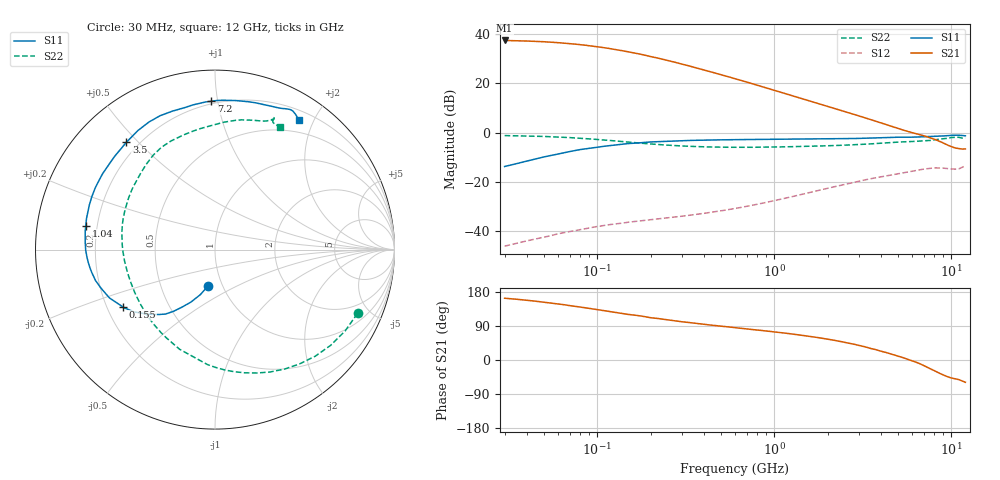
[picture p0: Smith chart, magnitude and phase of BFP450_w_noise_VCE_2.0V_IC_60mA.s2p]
! (c) 2015  Infineon Technologies AG, Munich
! Infineon Technologies  Discrete & RF Semiconductors
! BFP450
! VCE =  2.0 V,  IC =  60 mA
! Common Emitter S-Parameters:  Nov 2015
# GHz  S  MA  R  50
!  f  S11  S21  S12  S22
! GHz  MAG  ANG  MAG  ANG  MAG  ANG  MAG  ANG
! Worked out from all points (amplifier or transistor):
!   239 points, 30 MHz to 12 GHz, reference 50 ohm
!   highest |S21| = 37.3 dB at 30 MHz (marker M1)
!   |S21| within 3 dB of that: start of sweep to 111 MHz
!   unconditionally stable (mu >= 1): 1.067 GHz to end of sweep
!   at 300 MHz: K = 0.60, MSG = 30.8 dB, |S12| = -33.9 dB
!   at 1.88 GHz: K = 1.09, MAG = 15.3 dB, |S12| = -23.0 dB
!   at 12 GHz: K = 1.09, MAG = 1.6 dB, |S12| = -13.5 dB
!   lowest NFmin = 1.69 dB at 450 MHz
!   S11 on the Smith chart (normalised r, x): 30 MHz: 0.86, -0.36; 155 MHz: 0.27, -0.27; 1.04 GHz: 0.16, +0.09; 3.5 GHz: 0.15, +0.46; 7.2 GHz: 0.18, +0.96; 12 GHz: 0.32, +1.79
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0.03  0.2056 -100.8  73.59 163.0  0.005 78.5  0.8699 -24.1
0.04  0.2645 -108.1  71.64 157.7  0.0064 74.8  0.8552 -32.0
0.05  0.3213 -114.6  69.3 152.5  0.0076 70.0  0.8362 -39.7
0.06  0.368 -119.7  66.41 148.1  0.0089 67.2  0.8152 -46.8
0.07  0.4131 -123.8  63.46 143.5  0.0099 64.7  0.7919 -53.6
0.085  0.4657 -129.3  59.14 138.0  0.0112 60.7  0.7577 -62.8
0.11  0.5297 -137.5  52.37 130.0  0.0132 56.1  0.7067 -76.3
0.13  0.5699 -142.5  47.49 124.7  0.0143 53.5  0.6719 -85.6
0.155  0.6036 -148.0  42.36 119.5  0.0155 51.3  0.6352 -95.1
0.2  0.6467 -155.4  34.73 111.6  0.0172 49.0  0.5895 -109.5
0.24  0.6651 -160.1  30 107.1  0.0184 48.4  0.5616 -118.8
0.3  0.6876 -165.5  24.44 101.0  0.0202 48.5  0.5364 -130.4
0.36  0.6984 -169.5  20.63 96.8  0.0219 49.2  0.5216 -138.7
0.45  0.7096 -174.1  16.53 91.5  0.0245 50.7  0.51 -148.2
0.6  0.7204 -179.7  12.33 85.2  0.029 52.9  0.504 -159.1
0.8  0.7267 174.8  9.111 79.0  0.0353 54.7  0.5053 -168.8
1.04  0.7323 169.5  6.895 73.3  0.0431 55.3  0.5113 -177.1
1.64  0.7451 158.4  4.215 61.4  0.0629 52.7  0.5301 167.9
3.5  0.7753 129.6  1.832 30.5  0.1164 33.3  0.5909 135.4
4.5  0.8004 117.4  1.364 16.6  0.1368 22.9  0.6287 123.2
7.2  0.8268 91.4  0.835 -17.5  0.1847 -5.0  0.6828 95.1
12  0.8609 57.2  0.467 -58.8  0.2114 -41.4  0.7749 62.2
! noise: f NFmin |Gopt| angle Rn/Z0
0.45  1.69  0.56  -173  0.06
0.9  1.74  0.58  -167  0.07
1.9  1.84  0.62  -151  0.12
2.4  1.92  0.62  -143  0.16
